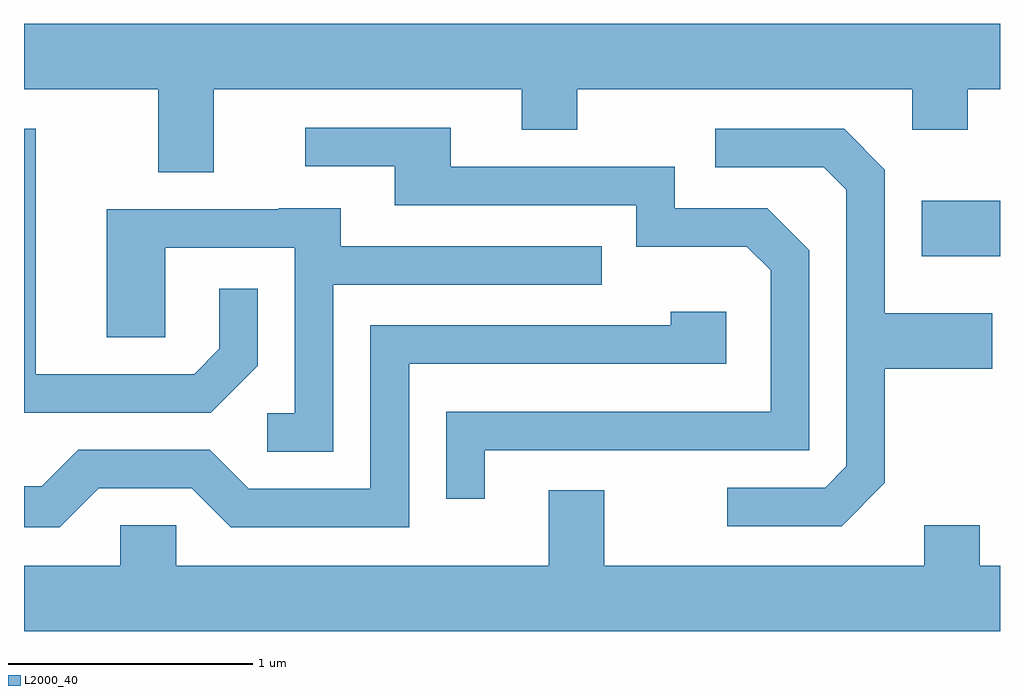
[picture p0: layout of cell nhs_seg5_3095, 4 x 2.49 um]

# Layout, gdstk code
import gdstk
lib = gdstk.Library(unit=1e-6, precision=1e-09)
def R(c, l, rs):  # rectangles x0, y0, x1, y1
    for r in rs: c.add(gdstk.rectangle(r[:2], r[2:], *l))
def P(c, l, *ps):  # polygons
    for p in ps: c.add(gdstk.Polygon(p, *l))
L2000_40 = (2000, 40)

nhs_seg5_3095 = lib.new_cell('nhs_seg5_3095')
R(nhs_seg5_3095, L2000_40, [(281.291,1422.811,281.611,1423.039)])
P(nhs_seg5_3095, L2000_40, [(278.389,1423.496),(279.651,1423.496),(279.651,1423.331),(279.879,1423.331),(279.879,1423.496),(281.251,1423.496),(281.251,1423.331),(281.479,1423.331),(281.479,1423.496),(281.611,1423.496),(281.611,1423.764),(277.611,1423.764),(277.611,1423.496),(278.161,1423.496),(278.161,1423.156),(278.389,1423.156)],
  [(279.499,1422.016),(280.829,1422.016),(280.829,1422.837),(280.657,1423.009),(280.279,1423.009),(280.279,1423.179),(279.359,1423.179),(279.359,1423.339),(278.763,1423.339),(278.763,1423.181),(279.131,1423.181),(279.131,1423.021),(280.121,1423.021),(280.121,1422.851),(280.574,1422.851),(280.671,1422.754),(280.671,1422.174),(279.341,1422.174),(279.341,1421.818),(279.499,1421.818)],
  [(281.139,1421.884),(281.139,1422.351),(281.579,1422.351),(281.579,1422.579),(281.139,1422.579),(281.139,1423.167),(280.972,1423.334),(280.443,1423.334),(280.443,1423.176),(280.889,1423.176),(280.981,1423.084),(280.981,1421.952),(280.894,1421.864),(280.493,1421.864),(280.493,1421.706),(280.962,1421.706)],
  [(278.569,1422.364),(278.569,1422.678),(278.411,1422.678),(278.411,1422.432),(278.309,1422.329),(277.659,1422.329),(277.659,1423.334),(277.611,1423.334),(277.611,1422.171),(278.377,1422.171)],
  [(278.879,1422.696),(279.978,1422.696),(279.978,1422.854),(278.909,1422.854),(278.909,1423.009),(278.655,1423.009),(278.655,1423.004),(277.951,1423.004),(277.951,1422.481),(278.189,1422.481),(278.189,1422.846),(278.721,1422.846),(278.721,1422.169),(278.608,1422.169),(278.608,1422.011),(278.879,1422.011)],
  [(277.917,1421.861),(278.299,1421.861),(278.459,1421.701),(279.189,1421.701),(279.189,1422.371),(280.489,1422.371),(280.489,1422.584),(280.261,1422.584),(280.261,1422.529),(279.031,1422.529),(279.031,1421.859),(278.532,1421.859),(278.372,1422.019),(277.834,1422.019),(277.684,1421.869),(277.611,1421.869),(277.611,1421.701),(277.757,1421.701)],
  [(281.611,1421.544),(281.529,1421.544),(281.529,1421.709),(281.301,1421.709),(281.301,1421.544),(279.989,1421.544),(279.989,1421.854),(279.761,1421.854),(279.761,1421.544),(278.234,1421.544),(278.234,1421.709),(278.006,1421.709),(278.006,1421.544),(277.611,1421.544),(277.611,1421.276),(281.611,1421.276)])

lib.write_gds('nhs_seg5_3095.gds')
